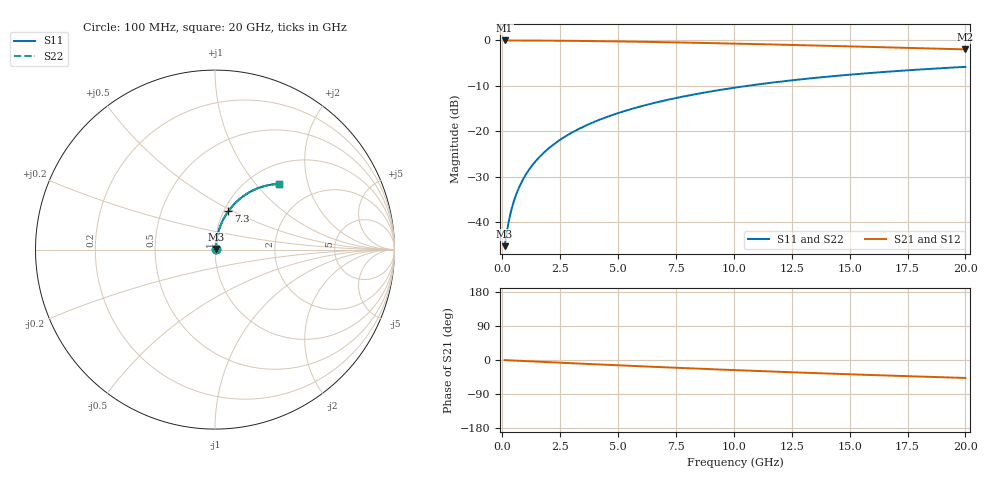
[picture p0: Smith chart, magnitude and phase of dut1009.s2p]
! Touchstone file exported from HFSS 2024.1.0
!  File:  C:/UserFiles/LocalFiles/RDL_TSV_Batchsim/temp_RDL_bottom_1009_1780050285.aedt
!  Generated:  06:27:13 PM May 29, 2026
!  Design:  RDL_bottom
!  Project:  temp_RDL_bottom_1009_1780050285
!  Setup:  Setup1
!  Solution:  Sweep
! Variables:
!  dtsv = 10.80580581um
!  hbump = 3um
!  htsv = 77.99um
!  ldown = 647.47um
!  lrdl = 100um
!  p = 40
!  p1 = 47.06um
!  rhole = 1um
!  t = 450um
!  tdown = 4.79um
!  trdl = 3.915915916um
!  wdown = 11.03um
!  wrdl = 20um
# GHz S MA R 50.000000
! Terminal data exported
! Port[1] = RDL1_T1
! Port[2] = RDL1_T2
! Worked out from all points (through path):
!   200 points, 100 MHz to 20 GHz, reference 50 ohm
!   highest |S21| = -0.04 dB at 100 MHz (marker M1); lowest = -2.0 dB at 20 GHz (marker M2)
!   group delay of S21, straight-line fit = 6.58 ps
!   lowest |S11| = -45.2 dB at 100 MHz (marker M3), VSWR 1.01, Z = 50.4 + j0.337 ohm
!   |S11| at or under -10 dB: start of sweep to 10.59 GHz
!   |S22| runs from -45.2 to -5.8 dB; largest |S21 - S12| = 2.8e-15
!   S11 on the Smith chart (normalised r, x): 100 MHz: 1.01, +0.01; 7.3 GHz: 1.05, +0.47; 20 GHz: 1.35, +1.34
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0.1  0.005496 37.4  0.9956 -0.3  0.9956 -0.3  0.005496 37.4
! Gamma 0 0 0 0
! Port Impedance 50 0 50 0
0.2  0.008016 56.1  0.9955 -0.6  0.9955 -0.6  0.008016 56.1
0.3  0.01096 65.1  0.9954 -0.9  0.9954 -0.9  0.01096 65.1
0.4  0.01403 70.0  0.9953 -1.2  0.9953 -1.2  0.01403 70.0
0.5  0.01715 73.1  0.9951 -1.4  0.9951 -1.4  0.01715 73.1
0.6  0.02031 75.2  0.995 -1.7  0.995 -1.7  0.02031 75.2
0.8  0.02665 77.7  0.9946 -2.3  0.9946 -2.3  0.02665 77.7
1.1  0.03622 79.5  0.994 -3.2  0.994 -3.2  0.03622 79.5
1.5  0.04903 80.5  0.9929 -4.3  0.9929 -4.3  0.04902 80.5
1.8  0.05862 80.6  0.9919 -5.1  0.9919 -5.1  0.05862 80.6
2.1  0.06821 80.5  0.9907 -6.0  0.9907 -6.0  0.06821 80.5
2.7  0.08728 79.9  0.9879 -7.7  0.9879 -7.7  0.08728 79.9
3.5  0.1125 78.6  0.9833 -9.9  0.9833 -9.9  0.1125 78.6
4.2  0.1342 77.3  0.9785 -11.8  0.9785 -11.8  0.1342 77.3
5  0.1587 75.7  0.9722 -14.0  0.9722 -14.0  0.1587 75.7
6.8  0.2122 71.9  0.9556 -18.7  0.9556 -18.7  0.2122 71.9
7.3  0.2267 70.8  0.9505 -20.0  0.9505 -20.0  0.2266 70.8
8.6  0.2632 68.0  0.9364 -23.2  0.9364 -23.2  0.2632 68.0
10.1  0.3035 64.9  0.9189 -26.8  0.9189 -26.8  0.3035 64.9
13.4  0.3842 58.1  0.8778 -34.3  0.8778 -34.3  0.3842 58.1
16.7  0.4532 51.7  0.8356 -41.1  0.8356 -41.1  0.4532 51.7
20  0.5108 45.8  0.7944 -47.4  0.7944 -47.4  0.5107 45.8
